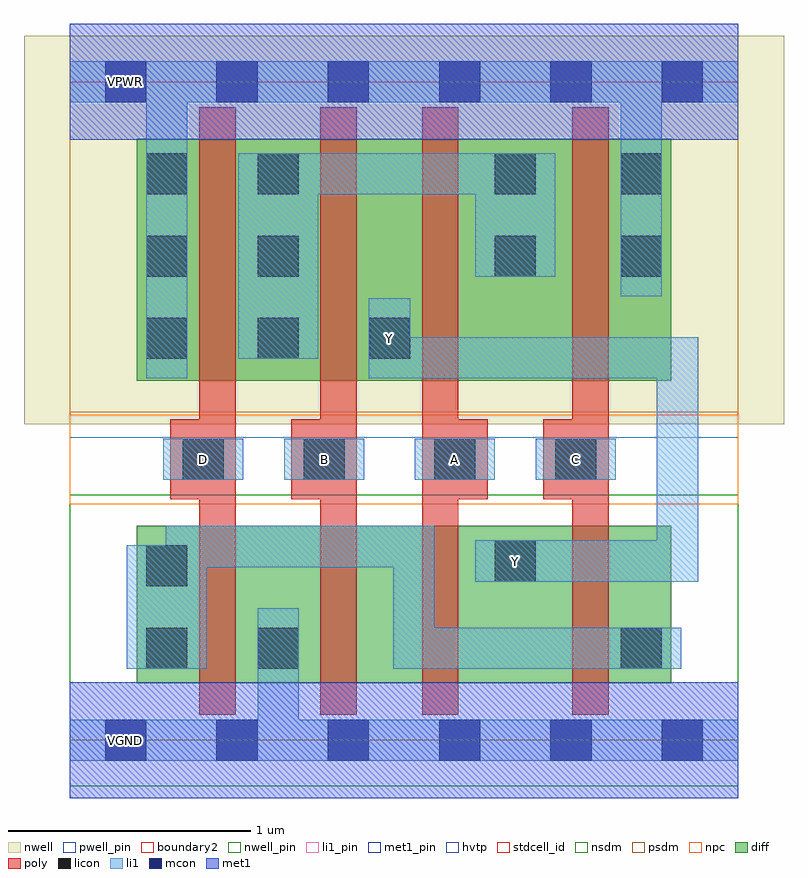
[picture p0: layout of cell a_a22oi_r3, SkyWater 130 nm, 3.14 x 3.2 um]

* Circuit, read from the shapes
.subckt a_a22oi_r3 A B C D VGND VNB VPB VPWR Y
XM1 VGND D n1 VNB sky130_fd_pr__nfet_01v8 w=0.65 l=0.15
XM2 n2 B VGND VNB sky130_fd_pr__nfet_01v8 w=0.65 l=0.15
XM3 Y A n2 VNB sky130_fd_pr__nfet_01v8 w=0.65 l=0.15
XM4 n1 C Y VNB sky130_fd_pr__nfet_01v8 w=0.65 l=0.15
XM5 n3 D VPWR VPB sky130_fd_pr__pfet_01v8_hvt w=1 l=0.15
XM6 Y B n3 VPB sky130_fd_pr__pfet_01v8_hvt w=1 l=0.15
XM7 n3 A Y VPB sky130_fd_pr__pfet_01v8_hvt w=1 l=0.15
XM8 VPWR C n3 VPB sky130_fd_pr__pfet_01v8_hvt w=1 l=0.15
.ends

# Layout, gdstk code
import gdstk
lib = gdstk.Library(unit=1e-6, precision=1e-09)
def R(c, l, rs):  # rectangles x0, y0, x1, y1
    for r in rs: c.add(gdstk.rectangle(r[:2], r[2:], *l))
def A(c, l, x, y, w, h, nx, ny, dx, dy):  # array of equal rectangles
    R(c, l, [(x+i*dx, y+j*dy, x+i*dx+w, y+j*dy+h) for i in range(nx) for j in range(ny)])
nwell_pin = (64, 16)
nwell = (64, 20)
diff = (65, 20)
poly = (66, 20)
licon = (66, 44)
li1_pin = (67, 16)
li1 = (67, 20)
mcon = (67, 44)
met1_pin = (68, 16)
met1 = (68, 20)
hvtp = (78, 44)
stdcell_id = (81, 4)
nsdm = (93, 44)
psdm = (94, 20)
npc = (95, 20)
pwell_pin = (122, 16)
boundary2 = (236, 0)

a_a22oi_r3 = lib.new_cell('a_a22oi_r3')
R(a_a22oi_r3, nwell_pin, [(0.145,2.635,0.315,2.805)])
R(a_a22oi_r3, nwell, [(-0.19,1.305,2.95,2.91)])
R(a_a22oi_r3, diff, [(0.275,0.235,0.86,0.885), (0.86,0.235,1.32,0.885), (1.32,0.235,1.84,0.885), (1.84,0.235,2.485,0.885), (0.275,1.485,0.86,2.485), (0.86,1.485,1.32,2.485), (1.32,1.485,1.84,2.485), (1.84,1.485,2.485,2.485)])
R(a_a22oi_r3, poly, [(0.535,0.105,0.685,2.615), (1.035,0.105,1.185,2.615), (1.455,0.105,1.605,2.615), (2.075,0.105,2.225,2.615), (0.415,0.995,0.685,1.325), (0.915,0.995,1.185,1.325), (1.455,0.995,1.725,1.325), (1.955,0.995,2.225,1.325)])
A(a_a22oi_r3, licon, 0.315, 1.575, 0.17, 0.17, 3, 1, 0.46, 0)
R(a_a22oi_r3, licon, [(0.315,0.295,0.485,0.465), (0.775,0.295,0.945,0.465), (2.275,0.295,2.445,0.465), (0.315,0.635,0.485,0.805), (1.755,0.655,1.925,0.825), (0.465,1.075,0.635,1.245), (0.965,1.075,1.135,1.245), (1.505,1.075,1.675,1.245), (2.005,1.075,2.175,1.245), (0.315,1.915,0.485,2.085), (0.775,1.915,0.945,2.085), (1.755,1.915,1.925,2.085), (2.275,1.915,2.445,2.085), (0.315,2.255,0.485,2.425), (0.775,2.255,0.945,2.425), (1.755,2.255,1.925,2.425), (2.275,2.255,2.445,2.425)])
R(a_a22oi_r3, li1_pin, [(1.755,0.655,1.925,0.825), (0.465,1.075,0.635,1.245), (0.965,1.075,1.135,1.245), (1.505,1.075,1.675,1.245), (2.005,1.075,2.175,1.245), (1.235,1.575,1.405,1.745)])
R(a_a22oi_r3, li1, [(0,-0.085,2.76,0.085), (0.775,-0.085,0.945,0.545), (0.235,0.295,0.565,0.465), (0.235,0.295,0.565,0.805), (0.395,0.295,0.565,0.885), (1.335,0.295,1.505,0.885), (1.335,0.295,2.365,0.465), (2.195,0.295,2.525,0.465), (1.675,0.655,2.005,0.825), (1.835,0.655,2.595,0.825), (2.425,0.655,2.595,1.665), (0.395,0.715,1.505,0.885), (0.385,1.075,0.715,1.245), (0.885,1.075,1.215,1.245), (1.425,1.075,1.755,1.245), (1.925,1.075,2.255,1.245), (0.315,1.495,0.485,2.085), (1.235,1.495,1.405,1.825), (1.235,1.495,2.595,1.665), (0.695,1.575,1.025,2.085), (0.315,1.835,0.485,2.425), (2.275,1.835,2.445,2.425), (0.695,1.915,1.025,2.425), (1.675,1.915,2.005,2.425), (0.315,2.085,0.485,2.175), (0.315,2.085,0.485,2.175), (0.315,2.085,0.485,2.175), (0.315,2.085,0.485,2.175), (0.315,2.175,0.485,2.805), (2.275,2.175,2.445,2.805), (0.695,2.255,1.025,2.425), (0.855,2.255,1.845,2.425), (1.675,2.255,2.005,2.425), (0,2.635,2.76,2.805)])
A(a_a22oi_r3, mcon, 0.145, -0.085, 0.17, 0.17, 6, 2, 0.46, 2.72)
R(a_a22oi_r3, met1_pin, [(0.145,-0.085,0.315,0.085), (0.145,2.635,0.315,2.805)])
R(a_a22oi_r3, met1, [(0,-0.24,2.76,0.24), (0,2.48,2.76,2.96)])
R(a_a22oi_r3, hvtp, [(0,1.25,2.76,2.72)])
R(a_a22oi_r3, stdcell_id, [(0,0,2.76,2.72)])
R(a_a22oi_r3, nsdm, [(0,-0.19,2.76,1.015)])
R(a_a22oi_r3, psdm, [(0,1.355,2.76,2.91)])
R(a_a22oi_r3, npc, [(0,0.975,2.76,1.345)])
R(a_a22oi_r3, pwell_pin, [(0.145,-0.085,0.315,0.085)])
R(a_a22oi_r3, boundary2, [(0,0,2.76,2.72)])
a_a22oi_r3.add(gdstk.Label('A', (1.59,1.16), layer=67, texttype=5))
a_a22oi_r3.add(gdstk.Label('B', (1.05,1.16), layer=67, texttype=5))
a_a22oi_r3.add(gdstk.Label('C', (2.09,1.16), layer=67, texttype=5))
a_a22oi_r3.add(gdstk.Label('D', (0.55,1.16), layer=67, texttype=5))
a_a22oi_r3.add(gdstk.Label('Y', (1.84,0.74), layer=67, texttype=5))
a_a22oi_r3.add(gdstk.Label('Y', (1.32,1.66), layer=67, texttype=5))
a_a22oi_r3.add(gdstk.Label('VGND', (0.23,0), layer=68, texttype=5))
a_a22oi_r3.add(gdstk.Label('VPWR', (0.23,2.72), layer=68, texttype=5))
a_a22oi_r3.add(gdstk.Label('VPB', (0.23,2.72), layer=64, texttype=5))
a_a22oi_r3.add(gdstk.Label('VNB', (0.23,0), layer=64, texttype=59))

lib.write_gds('a_a22oi_r3.gds')
